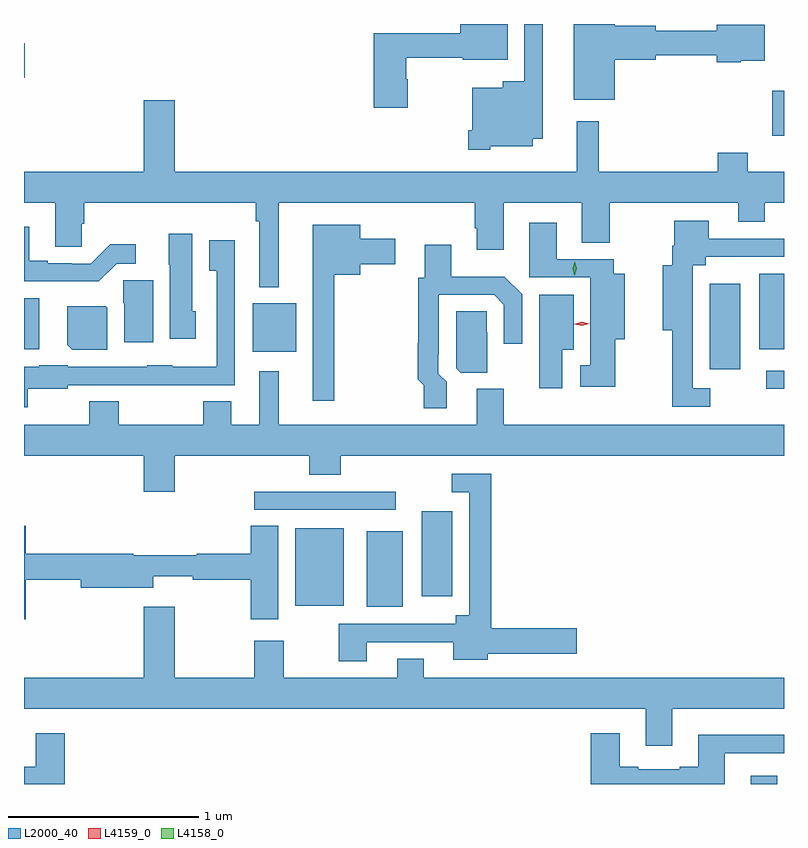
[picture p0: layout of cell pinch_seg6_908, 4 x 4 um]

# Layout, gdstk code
import gdstk
lib = gdstk.Library(unit=1e-6, precision=1e-09)
def R(c, l, rs):  # rectangles x0, y0, x1, y1
    for r in rs: c.add(gdstk.rectangle(r[:2], r[2:], *l))
def P(c, l, *ps):  # polygons
    for p in ps: c.add(gdstk.Polygon(p, *l))
L2000_40 = (2000, 40)
L4158_0 = (4158, 0)
L4159_0 = (4159, 0)

pinch_seg6_908 = lib.new_cell('pinch_seg6_908')
R(pinch_seg6_908, L2000_40, [(264.107,916.305,264.247,916.348), (262.088,917.237,262.276,917.635), (261.71,917.243,261.967,917.65), (262.376,917.292,262.537,917.74), (261.495,917.748,262.24,917.844), (264.189,918.384,264.283,918.48), (263.891,918.489,264.052,918.937), (261.488,918.581,261.715,918.835), (260.283,918.593,260.362,918.862), (264.152,918.593,264.283,918.991), (264.22,919.716,264.283,919.954), (260.283,920.021,260.287,920.204)])
P(pinch_seg6_908, L2000_40, [(262.737,919.661),(262.96,919.661),(262.96,919.7),(263.014,919.7),(263.014,920.305),(262.917,920.305),(262.917,920.005),(262.802,920.005),(262.802,919.969),(262.643,919.969),(262.643,919.747),(262.622,919.747),(262.622,919.643),(262.737,919.643)],
  [(262.302,920.013),(262.294,920.013),(262.294,920.128),(262.592,920.128),(262.592,920.117),(262.828,920.117),(262.828,920.305),(262.58,920.305),(262.58,920.257),(262.124,920.257),(262.124,919.863),(262.302,919.863)],
  [(263.392,920.117),(263.608,920.117),(263.608,920.14),(263.93,920.14),(263.93,920.104),(264.056,920.104),(264.056,920.111),(264.181,920.111),(264.181,920.302),(263.93,920.302),(263.93,920.269),(263.608,920.269),(263.608,920.295),(263.392,920.295),(263.392,920.305),(263.177,920.305),(263.177,919.907),(263.392,919.907)],
  [(261.625,919.364),(262.655,919.364),(262.655,919.231),(262.667,919.231),(262.667,919.116),(262.807,919.116),(262.807,919.364),(263.219,919.364),(263.219,919.153),(263.367,919.153),(263.367,919.364),(264.041,919.364),(264.041,919.265),(264.181,919.265),(264.181,919.364),(264.283,919.364),(264.283,919.528),(264.093,919.528),(264.093,919.627),(263.933,919.627),(263.933,919.528),(263.309,919.528),(263.309,919.792),(263.191,919.792),(263.191,919.528),(261.076,919.528),(261.076,919.903),(260.912,919.903),(260.912,919.528),(260.283,919.528),(260.283,919.364),(260.447,919.364),(260.447,919.132),(260.586,919.132),(260.586,919.254),(260.6,919.254),(260.6,919.364),(261.504,919.364),(261.504,919.268),(261.521,919.268),(261.521,918.92),(261.625,918.92)],
  [(263.896,918.387),(263.802,918.387),(263.802,918.796),(263.803,918.796),(263.803,919.034),(263.872,919.034),(263.872,919.08),(264.283,919.08),(264.283,919.176),(263.887,919.176),(263.887,919.27),(263.705,919.27),(263.705,919.138),(263.694,919.138),(263.694,919.036),(263.645,919.036),(263.645,918.692),(263.694,918.692),(263.694,918.291),(263.896,918.291)],
  [(263.394,918.647),(263.446,918.647),(263.446,918.991),(263.386,918.991),(263.386,919.068),(263.086,919.068),(263.086,919.258),(262.943,919.258),(262.943,918.972),(263.264,918.972),(263.264,918.509),(263.211,918.509),(263.211,918.396),(263.394,918.396)],
  [(261.917,918.986),(262.054,918.986),(262.054,919.04),(262.237,919.04),(262.237,919.174),(262.054,919.174),(262.054,919.249),(261.803,919.249),(261.803,918.321),(261.917,918.321)],
  [(260.772,919.044),(260.872,919.044),(260.872,919.147),(260.737,919.147),(260.634,919.044),(260.534,919.044),(260.534,919.047),(260.407,919.047),(260.407,919.06),(260.311,919.06),(260.311,919.237),(260.283,919.237),(260.283,918.95),(260.677,918.95)],
  [(261.187,918.792),(261.169,918.792),(261.169,919.201),(261.044,919.201),(261.044,919.038),(261.05,919.038),(261.05,918.648),(261.187,918.648)],
  [(260.302,918.386),(260.514,918.386),(260.514,918.405),(260.931,918.405),(260.931,918.404),(261.163,918.404),(261.163,918.405),(261.393,918.405),(261.393,919.168),(261.257,919.168),(261.257,919.007),(261.297,919.007),(261.297,918.502),(261.063,918.502),(261.063,918.508),(260.931,918.508),(260.931,918.501),(260.514,918.501),(260.514,918.508),(260.364,918.508),(260.364,918.502),(260.283,918.502),(260.283,918.288),(260.302,918.288)],
  [(262.507,918.422),(262.464,918.465),(262.464,918.565),(262.467,918.565),(262.467,918.879),(262.758,918.879),(262.809,918.828),(262.809,918.621),(262.905,918.621),(262.905,918.882),(262.811,918.976),(262.531,918.976),(262.531,919.144),(262.391,919.144),(262.391,918.969),(262.359,918.969),(262.359,918.626),(262.356,918.626),(262.356,918.436),(262.387,918.405),(262.387,918.282),(262.507,918.282)],
  [(260.962,918.957),(260.806,918.957),(260.806,918.834),(260.81,918.834),(260.81,918.63),(260.962,918.63)],
  [(263.116,918.59),(263.176,918.59),(263.176,918.88),(262.994,918.88),(262.994,918.387),(263.116,918.387)],
  [(260.722,918.812),(260.714,918.82),(260.51,918.82),(260.51,918.616),(260.536,918.59),(260.722,918.59)],
  [(262.72,918.683),(262.719,918.683),(262.719,918.794),(262.557,918.794),(262.557,918.492),(262.581,918.469),(262.72,918.469)],
  [(261.076,918.032),(261.785,918.032),(261.785,917.933),(261.95,917.933),(261.95,918.032),(264.283,918.032),(264.283,918.196),(262.807,918.196),(262.807,918.384),(262.667,918.384),(262.667,918.196),(261.625,918.196),(261.625,918.478),(261.521,918.478),(261.521,918.196),(261.373,918.196),(261.373,918.32),(261.226,918.32),(261.226,918.196),(260.781,918.196),(260.781,918.32),(260.626,918.32),(260.626,918.196),(260.283,918.196),(260.283,918.032),(260.912,918.032),(260.912,917.844),(261.076,917.844)],
  [(262.087,917.052),(262.541,917.052),(262.541,916.958),(262.723,916.958),(262.723,916.991),(263.191,916.991),(263.191,917.126),(262.742,917.126),(262.742,917.937),(262.533,917.937),(262.533,917.841),(262.626,917.841),(262.626,917.194),(262.556,917.194),(262.556,917.148),(261.94,917.148),(261.94,916.95),(262.087,916.95)],
  [(260.291,917.38),(260.582,917.38),(260.582,917.338),(260.962,917.338),(260.962,917.399),(261.172,917.399),(261.172,917.38),(261.476,917.38),(261.476,917.172),(261.622,917.172),(261.622,917.663),(261.476,917.663),(261.476,917.516),(261.192,917.516),(261.192,917.509),(260.858,917.509),(260.858,917.516),(260.291,917.516),(260.291,917.663),(260.283,917.663),(260.283,917.172),(260.291,917.172)],
  [(263.695,916.7),(264.283,916.7),(264.283,916.864),(262.387,916.864),(262.387,916.963),(262.247,916.963),(262.247,916.864),(261.651,916.864),(261.651,917.059),(261.496,917.059),(261.496,916.864),(261.076,916.864),(261.076,917.239),(260.912,917.239),(260.912,916.864),(260.283,916.864),(260.283,916.7),(263.555,916.7),(263.555,916.506),(263.695,916.506)],
  [(263.971,916.467),(264.283,916.467),(264.283,916.564),(263.831,916.564),(263.831,916.396),(263.735,916.396),(263.735,916.383),(263.515,916.383),(263.515,916.396),(263.419,916.396),(263.419,916.573),(263.267,916.573),(263.267,916.305),(263.971,916.305)],
  [(260.498,916.573),(260.345,916.573),(260.345,916.396),(260.283,916.396),(260.283,916.305),(260.498,916.305)])
P(pinch_seg6_908, L4158_0, [(263.18,918.983),(263.171,919.019),(263.181,919.055),(263.181,919.055),(263.181,919.055),(263.191,919.019),(263.181,918.983),(263.181,918.983)])
P(pinch_seg6_908, L4159_0, [(263.22,918.717),(263.18,918.725),(263.18,918.726),(263.18,918.726),(263.219,918.737),(263.259,918.728),(263.259,918.728),(263.259,918.727)])

lib.write_gds('pinch_seg6_908.gds')
